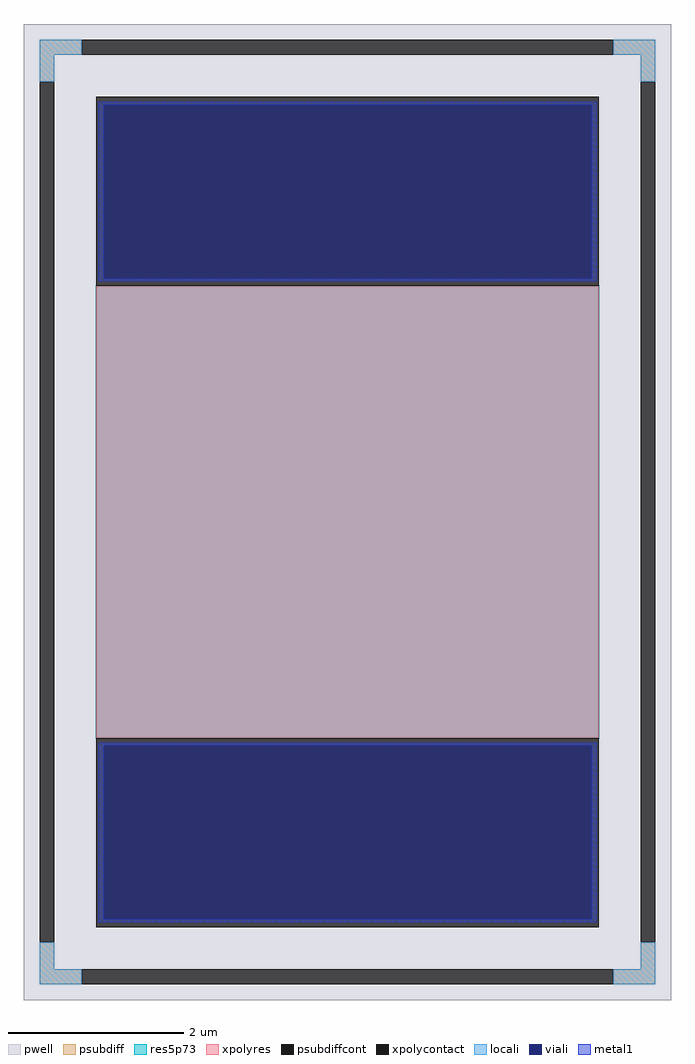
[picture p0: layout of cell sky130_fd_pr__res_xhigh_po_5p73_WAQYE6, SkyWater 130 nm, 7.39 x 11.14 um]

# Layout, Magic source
magic
tech sky130A
magscale 1 2
<< pwell >>
rect -739 -1114 739 1114
<< psubdiff >>
rect -703 1044 -607 1078
rect 607 1044 703 1078
rect -703 982 -669 1044
rect 669 982 703 1044
rect -703 -1044 -669 -982
rect 669 -1044 703 -982
rect -703 -1078 -607 -1044
rect 607 -1078 703 -1044
<< psubdiffcont >>
rect -607 1044 607 1078
rect -703 -982 -669 982
rect 669 -982 703 982
rect -607 -1078 607 -1044
<< xpolycontact >>
rect -573 516 573 948
rect -573 -948 573 -516
<< xpolyres >>
rect -573 -516 573 516
<< locali >>
rect -703 1044 -607 1078
rect 607 1044 703 1078
rect -703 982 -669 1044
rect 669 982 703 1044
rect -703 -1044 -669 -982
rect 669 -1044 703 -982
rect -703 -1078 -607 -1044
rect 607 -1078 703 -1044
<< viali >>
rect -557 533 557 930
rect -557 -930 557 -533
<< metal1 >>
rect -569 930 569 936
rect -569 533 -557 930
rect 557 533 569 930
rect -569 527 569 533
rect -569 -533 569 -527
rect -569 -930 -557 -533
rect 557 -930 569 -533
rect -569 -936 569 -930
<< res5p73 >>
rect -575 -518 575 518
<< properties >>
string FIXED_BBOX -686 -1061 686 1061
string gencell sky130_fd_pr__res_xhigh_po_5p73
string library sky130
string parameters w 5.730 l 5.16 m 1 nx 1 wmin 5.730 lmin 0.50 rho 2000 val 1.866k dummy 0 dw 0.0 term 188.2 sterm 0.0 caplen 0 wmax 5.730 guard 1 glc 1 grc 1 gtc 1 gbc 1 compatible {sky130_fd_pr__res_xhigh_po_0p35  sky130_fd_pr__res_xhigh_po_0p69 sky130_fd_pr__res_xhigh_po_1p41  sky130_fd_pr__res_xhigh_po_2p85 sky130_fd_pr__res_xhigh_po_5p73} snake 0 full_metal 1 n_guard 0 hv_guard 0 vias 1 viagb 0 viagt 0 viagl 0 viagr 0
<< end >>
